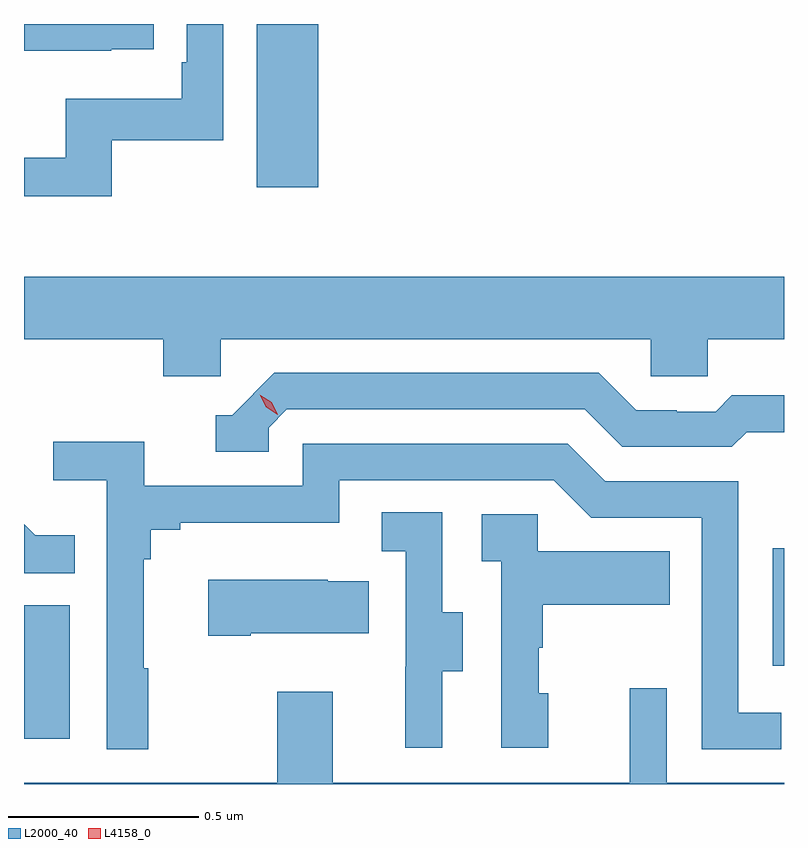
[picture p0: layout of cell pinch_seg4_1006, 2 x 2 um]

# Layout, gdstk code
import gdstk
lib = gdstk.Library(unit=1e-6, precision=1e-09)
def R(c, l, rs):  # rectangles x0, y0, x1, y1
    for r in rs: c.add(gdstk.rectangle(r[:2], r[2:], *l))
def P(c, l, *ps):  # polygons
    for p in ps: c.add(gdstk.Polygon(p, *l))
L2000_40 = (2000, 40)
L4158_0 = (4158, 0)

pinch_seg4_1006 = lib.new_cell('pinch_seg4_1006')
R(pinch_seg4_1006, L2000_40, [(865.792,777.12,865.912,777.471), (867.762,777.312,867.792,777.622), (866.405,778.572,866.566,779.001)])
P(pinch_seg4_1006, L2000_40, [(866.023,778.695),(866.316,778.695),(866.316,779.001),(866.22,779.001),(866.22,778.9),(866.207,778.9),(866.207,778.804),(865.902,778.804),(865.902,778.649),(865.792,778.649),(865.792,778.548),(866.023,778.548)],
  [(866.021,778.935),(866.134,778.935),(866.134,779.001),(865.792,779.001),(865.792,778.93),(866.021,778.93)],
  [(866.31,778.172),(867.441,778.172),(867.441,778.074),(867.591,778.074),(867.591,778.172),(867.792,778.172),(867.792,778.336),(865.792,778.336),(865.792,778.172),(866.159,778.172),(866.159,778.074),(866.31,778.074)],
  [(866.436,777.939),(866.484,777.987),(867.267,777.987),(867.366,777.888),(867.655,777.888),(867.694,777.927),(867.792,777.927),(867.792,778.024),(867.655,778.024),(867.613,777.981),(867.51,777.981),(867.51,777.984),(867.403,777.984),(867.304,778.083),(866.451,778.083),(866.34,777.972),(866.297,777.972),(866.297,777.876),(866.436,777.876)],
  [(866.119,777.305),(866.107,777.305),(866.107,777.593),(866.126,777.593),(866.126,777.67),(866.203,777.67),(866.203,777.689),(866.622,777.689),(866.622,777.801),(867.186,777.801),(867.285,777.702),(867.576,777.702),(867.576,777.093),(867.785,777.093),(867.785,777.189),(867.672,777.189),(867.672,777.798),(867.322,777.798),(867.223,777.897),(866.526,777.897),(866.526,777.786),(866.108,777.786),(866.108,777.902),(865.869,777.902),(865.869,777.8),(866.01,777.8),(866.01,777.093),(866.119,777.093)],
  [(866.893,777.298),(866.947,777.298),(866.947,777.453),(866.892,777.453),(866.892,777.716),(866.733,777.716),(866.733,777.613),(866.796,777.613),(866.796,777.309),(866.795,777.309),(866.795,777.096),(866.893,777.096)],
  [(867.172,777.24),(867.147,777.24),(867.147,777.359),(867.157,777.359),(867.157,777.473),(867.491,777.473),(867.491,777.613),(867.144,777.613),(867.144,777.711),(866.997,777.711),(866.997,777.587),(867.048,777.587),(867.048,777.096),(867.172,777.096)],
  [(865.925,777.655),(865.821,777.655),(865.792,777.684),(865.792,777.556),(865.925,777.556)],
  [(866.389,777.398),(866.699,777.398),(866.699,777.535),(866.591,777.535),(866.591,777.538),(866.277,777.538),(866.277,777.391),(866.389,777.391)],
  [(867.792,777.004),(867.483,777.004),(867.483,777.253),(867.386,777.253),(867.386,777.004),(866.605,777.004),(866.605,777.244),(866.458,777.244),(866.458,777.004),(865.792,777.004),(865.792,777.001),(867.792,777.001)])
P(pinch_seg4_1006, L4158_0, [(866.46,777.973),(866.429,777.992),(866.413,778.025),(866.413,778.025),(866.413,778.025),(866.444,778.006),(866.46,777.973),(866.46,777.973)])

lib.write_gds('pinch_seg4_1006.gds')
